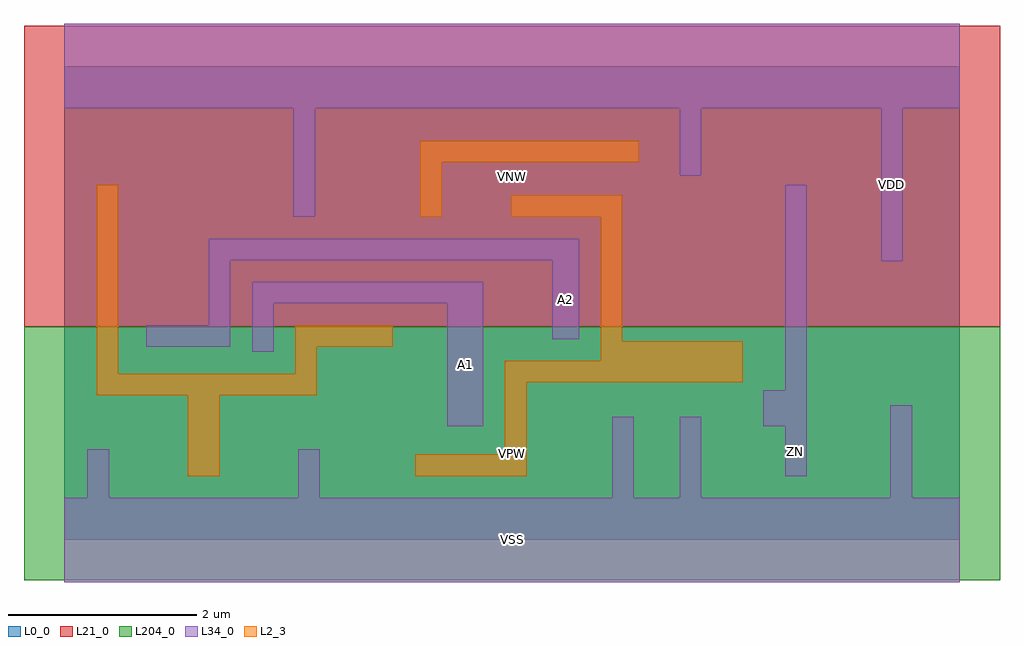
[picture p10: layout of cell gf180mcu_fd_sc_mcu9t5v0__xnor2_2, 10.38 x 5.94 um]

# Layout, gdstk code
import gdstk
lib = gdstk.Library(unit=1e-6, precision=1e-09)
def R(c, l, rs):  # rectangles x0, y0, x1, y1
    for r in rs: c.add(gdstk.rectangle(r[:2], r[2:], *l))
L0_0 = (0, 0)
L2_3 = (2, 3)
L21_0 = (21, 0)
L34_0 = (34, 0)
L204_0 = (204, 0)

gf180mcu_fd_sc_mcu9t5v0_ = lib.new_cell('gf180mcu_fd_sc_mcu9t5v0__xnor2_2')
R(gf180mcu_fd_sc_mcu9t5v0_, L0_0, [(0,0,9.52,5.04)])
R(gf180mcu_fd_sc_mcu9t5v0_, L2_3, [(1.31,0.68,1.65,1.54), (3.73,0.68,4.915,0.91), (4.685,0.91,4.915,1.675), (0.345,1.54,2.685,1.77), (4.685,1.675,7.215,1.905), (0.345,1.77,0.575,3.775), (2.455,1.77,2.685,2.055), (5.705,1.905,7.215,2.115), (2.455,2.055,3.49,2.285), (5.705,2.115,5.935,3.435), (3.785,3.435,4.015,4.015), (4.75,3.435,5.935,3.665), (3.785,4.015,6.11,4.245)])
R(gf180mcu_fd_sc_mcu9t5v0_, L21_0, [(-0.43,2.265,9.95,5.47)])
R(gf180mcu_fd_sc_mcu9t5v0_, L34_0, [(0,-0.45,9.52,0.45), (0.245,0.45,0.475,0.965), (2.485,0.45,2.715,0.965), (5.825,0.45,6.055,1.31), (6.545,0.45,6.775,1.31), (8.785,0.45,9.015,1.435), (7.665,0.68,7.895,1.21), (4.07,1.21,4.455,2.515), (7.43,1.21,7.895,1.59), (7.665,1.59,7.895,3.775), (1.995,2,2.225,2.515), (0.87,2.055,1.765,2.285), (5.19,2.135,5.475,2.975), (1.535,2.285,1.765,2.975), (1.995,2.515,4.455,2.745), (8.685,2.965,8.915,4.59), (1.535,2.975,5.475,3.205), (2.435,3.435,2.665,4.59), (6.545,3.875,6.775,4.59), (0,4.59,9.52,5.49)])
R(gf180mcu_fd_sc_mcu9t5v0_, L204_0, [(-0.43,-0.43,9.95,2.265)])
gf180mcu_fd_sc_mcu9t5v0_.add(gdstk.Label('A1', (4.262,1.862), layer=34, texttype=10))
gf180mcu_fd_sc_mcu9t5v0_.add(gdstk.Label('A2', (5.332,2.555), layer=34, texttype=10))
gf180mcu_fd_sc_mcu9t5v0_.add(gdstk.Label('ZN', (7.78,0.945), layer=34, texttype=10))
gf180mcu_fd_sc_mcu9t5v0_.add(gdstk.Label('VDD', (8.8,3.777), layer=34, texttype=10))
gf180mcu_fd_sc_mcu9t5v0_.add(gdstk.Label('VSS', (4.76,0), layer=34, texttype=10))
gf180mcu_fd_sc_mcu9t5v0_.add(gdstk.Label('VNW', (4.76,3.867), layer=3, texttype=1))
gf180mcu_fd_sc_mcu9t5v0_.add(gdstk.Label('VPW', (4.76,0.917), layer=4, texttype=1))

lib.write_gds('gf180mcu_fd_sc_mcu9t5v0__xnor2_2.gds')
